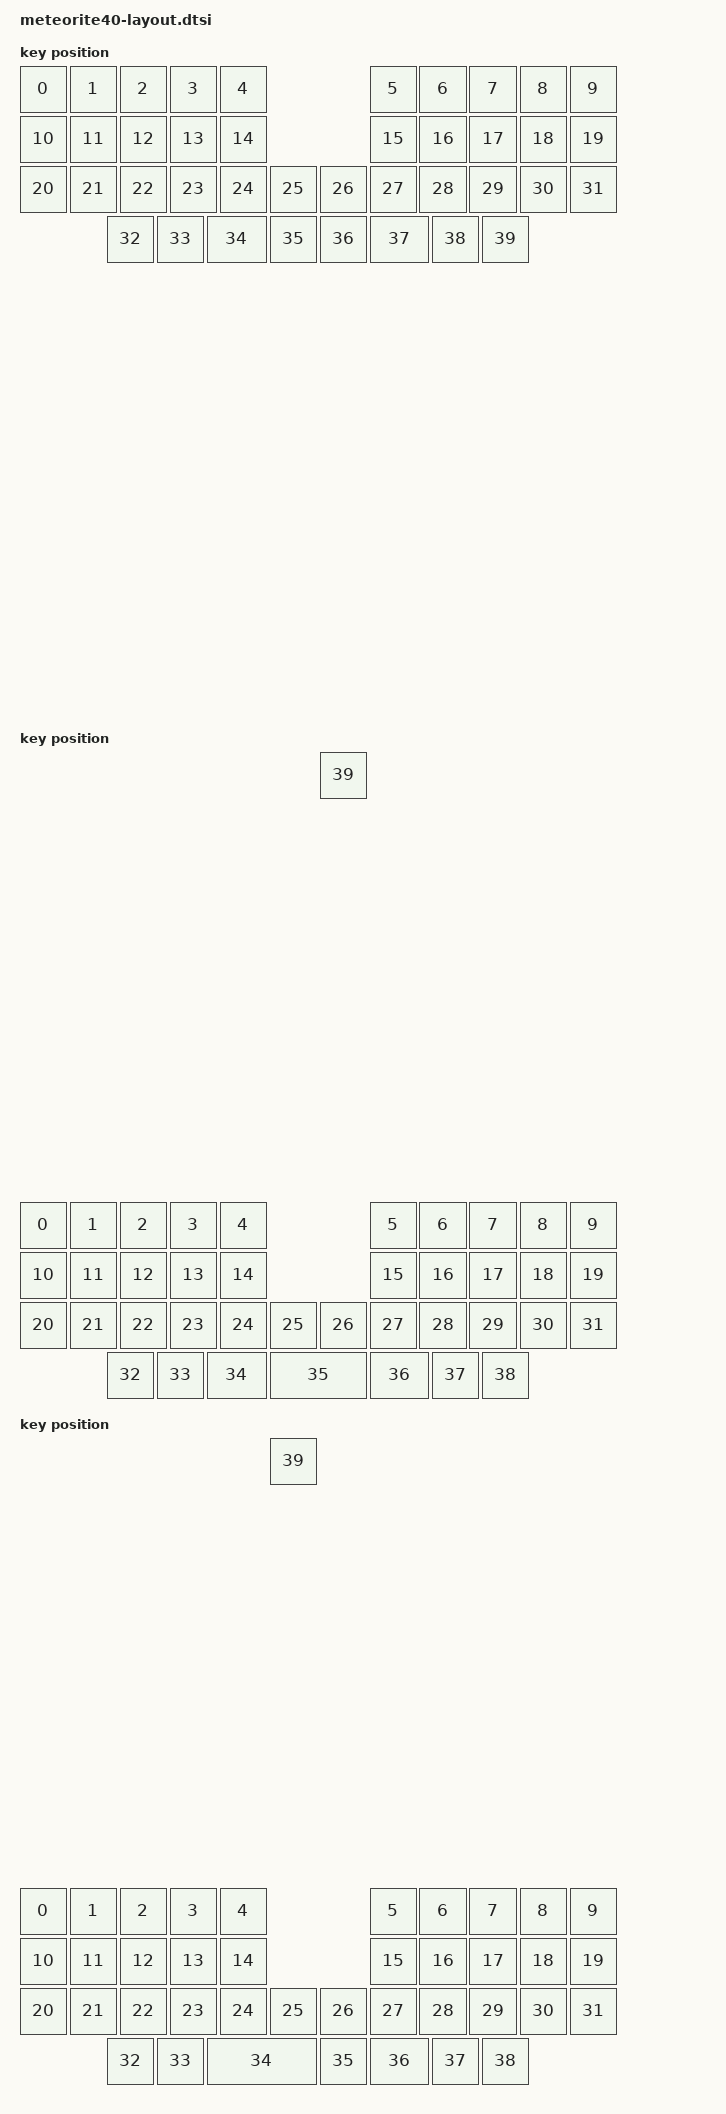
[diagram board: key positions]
#include <physical_layouts.dtsi>

/ {
    LAYOUT_SPLIT_SPACE: layout_split_space {
        compatible = "zmk,physical-layout";
        display-name = "Split Space";

        keys //                  w    h   x     y  rot rx ry 
            = 
            // 1段目 左5
            <&key_physical_attrs 100 100    0    0  0  0  0>,
            <&key_physical_attrs 100 100  100    0  0  0  0>,
            <&key_physical_attrs 100 100  200    0  0  0  0>,
            <&key_physical_attrs 100 100  300    0  0  0  0>,
            <&key_physical_attrs 100 100  400    0  0  0  0>,
            // 1段目 右5
            <&key_physical_attrs 100 100  700    0  0  0  0>,
            <&key_physical_attrs 100 100  800    0  0  0  0>,
            <&key_physical_attrs 100 100  900    0  0  0  0>,
            <&key_physical_attrs 100 100 1000    0  0  0  0>,
            <&key_physical_attrs 100 100 1100    0  0  0  0>,

            // 2段目 左5
            <&key_physical_attrs 100 100    0  100  0  0  0>,
            <&key_physical_attrs 100 100  100  100  0  0  0>,
            <&key_physical_attrs 100 100  200  100  0  0  0>,
            <&key_physical_attrs 100 100  300  100  0  0  0>,
            <&key_physical_attrs 100 100  400  100  0  0  0>,
            // 2段目 右5
            <&key_physical_attrs 100 100  700  100  0  0  0>,
            <&key_physical_attrs 100 100  800  100  0  0  0>,
            <&key_physical_attrs 100 100  900  100  0  0  0>,
            <&key_physical_attrs 100 100 1000  100  0  0  0>,
            <&key_physical_attrs 100 100 1100  100  0  0  0>,

            // 3段目 中央12
            <&key_physical_attrs 100 100    0  200  0  0  0>,
            <&key_physical_attrs 100 100  100  200  0  0  0>,
            <&key_physical_attrs 100 100  200  200  0  0  0>,
            <&key_physical_attrs 100 100  300  200  0  0  0>,
            <&key_physical_attrs 100 100  400  200  0  0  0>,
            <&key_physical_attrs 100 100  500  200  0  0  0>,
            <&key_physical_attrs 100 100  600  200  0  0  0>,
            <&key_physical_attrs 100 100  700  200  0  0  0>,
            <&key_physical_attrs 100 100  800  200  0  0  0>,
            <&key_physical_attrs 100 100  900  200  0  0  0>,
            <&key_physical_attrs 100 100 1000  200  0  0  0>,
            <&key_physical_attrs 100 100 1100  200  0  0  0>,

            // 4段目
            <&key_physical_attrs 100 100  175  300  0  0  0>,
            <&key_physical_attrs 100 100  275  300  0  0  0>,
            <&key_physical_attrs 125 100  375  300  0  0  0>,
            <&key_physical_attrs 100 100  500  300  0  0  0>,
            <&key_physical_attrs 100 100  600  300  0  0  0>,
            <&key_physical_attrs 125 100  700  300  0  0  0>,
            <&key_physical_attrs 100 100  825  300  0  0  0>,
            <&key_physical_attrs 100 100  925  300  0  0  0>
        ;
    };

    LAYOUT_2U_SPACE: layout_2u_space {
        compatible = "zmk,physical-layout";
        display-name = "2U Space";

        keys //                  w    h   x     y  rot rx ry 
            = 
            // 1段目 左5
            <&key_physical_attrs 100 100    0    0  0  0  0>,
            <&key_physical_attrs 100 100  100    0  0  0  0>,
            <&key_physical_attrs 100 100  200    0  0  0  0>,
            <&key_physical_attrs 100 100  300    0  0  0  0>,
            <&key_physical_attrs 100 100  400    0  0  0  0>,
            // 1段目 右5
            <&key_physical_attrs 100 100  700    0  0  0  0>,
            <&key_physical_attrs 100 100  800    0  0  0  0>,
            <&key_physical_attrs 100 100  900    0  0  0  0>,
            <&key_physical_attrs 100 100 1000    0  0  0  0>,
            <&key_physical_attrs 100 100 1100    0  0  0  0>,

            // 2段目 左5
            <&key_physical_attrs 100 100    0  100  0  0  0>,
            <&key_physical_attrs 100 100  100  100  0  0  0>,
            <&key_physical_attrs 100 100  200  100  0  0  0>,
            <&key_physical_attrs 100 100  300  100  0  0  0>,
            <&key_physical_attrs 100 100  400  100  0  0  0>,
            // 2段目 右5
            <&key_physical_attrs 100 100  700  100  0  0  0>,
            <&key_physical_attrs 100 100  800  100  0  0  0>,
            <&key_physical_attrs 100 100  900  100  0  0  0>,
            <&key_physical_attrs 100 100 1000  100  0  0  0>,
            <&key_physical_attrs 100 100 1100  100  0  0  0>,

            // 3段目 中央12
            <&key_physical_attrs 100 100    0  200  0  0  0>,
            <&key_physical_attrs 100 100  100  200  0  0  0>,
            <&key_physical_attrs 100 100  200  200  0  0  0>,
            <&key_physical_attrs 100 100  300  200  0  0  0>,
            <&key_physical_attrs 100 100  400  200  0  0  0>,
            <&key_physical_attrs 100 100  500  200  0  0  0>,
            <&key_physical_attrs 100 100  600  200  0  0  0>,
            <&key_physical_attrs 100 100  700  200  0  0  0>,
            <&key_physical_attrs 100 100  800  200  0  0  0>,
            <&key_physical_attrs 100 100  900  200  0  0  0>,
            <&key_physical_attrs 100 100 1000  200  0  0  0>,
            <&key_physical_attrs 100 100 1100  200  0  0  0>,

            // 4段目
            <&key_physical_attrs 100 100  175  300  0  0  0>,
            <&key_physical_attrs 100 100  275  300  0  0  0>,
            <&key_physical_attrs 125 100  375  300  0  0  0>,
            <&key_physical_attrs 200 100  500  300  0  0  0>,
            //<&key_physical_attrs 100 100  600  300  0  0  0>,
            <&key_physical_attrs 125 100  700  300  0  0  0>,
            <&key_physical_attrs 100 100  825  300  0  0  0>,
            <&key_physical_attrs 100 100  925  300  0  0  0>,

            // Hidden layout slot
            <&key_physical_attrs 100 100  600 (-900)  0  0  0>
        ;
    };

    LAYOUT_225U_SPACE_LEFT: layout_225u_space_left {
        compatible = "zmk,physical-layout";
        display-name = "2.25U Space left";

        keys //                  w    h   x     y  rot rx ry 
            = 
            // 1段目 左5
            <&key_physical_attrs 100 100    0    0  0  0  0>,
            <&key_physical_attrs 100 100  100    0  0  0  0>,
            <&key_physical_attrs 100 100  200    0  0  0  0>,
            <&key_physical_attrs 100 100  300    0  0  0  0>,
            <&key_physical_attrs 100 100  400    0  0  0  0>,
            // 1段目 右5
            <&key_physical_attrs 100 100  700    0  0  0  0>,
            <&key_physical_attrs 100 100  800    0  0  0  0>,
            <&key_physical_attrs 100 100  900    0  0  0  0>,
            <&key_physical_attrs 100 100 1000    0  0  0  0>,
            <&key_physical_attrs 100 100 1100    0  0  0  0>,

            // 2段目 左5
            <&key_physical_attrs 100 100    0  100  0  0  0>,
            <&key_physical_attrs 100 100  100  100  0  0  0>,
            <&key_physical_attrs 100 100  200  100  0  0  0>,
            <&key_physical_attrs 100 100  300  100  0  0  0>,
            <&key_physical_attrs 100 100  400  100  0  0  0>,
            // 2段目 右5
            <&key_physical_attrs 100 100  700  100  0  0  0>,
            <&key_physical_attrs 100 100  800  100  0  0  0>,
            <&key_physical_attrs 100 100  900  100  0  0  0>,
            <&key_physical_attrs 100 100 1000  100  0  0  0>,
            <&key_physical_attrs 100 100 1100  100  0  0  0>,

            // 3段目 中央12
            <&key_physical_attrs 100 100    0  200  0  0  0>,
            <&key_physical_attrs 100 100  100  200  0  0  0>,
            <&key_physical_attrs 100 100  200  200  0  0  0>,
            <&key_physical_attrs 100 100  300  200  0  0  0>,
            <&key_physical_attrs 100 100  400  200  0  0  0>,
            <&key_physical_attrs 100 100  500  200  0  0  0>,
            <&key_physical_attrs 100 100  600  200  0  0  0>,
            <&key_physical_attrs 100 100  700  200  0  0  0>,
            <&key_physical_attrs 100 100  800  200  0  0  0>,
            <&key_physical_attrs 100 100  900  200  0  0  0>,
            <&key_physical_attrs 100 100 1000  200  0  0  0>,
            <&key_physical_attrs 100 100 1100  200  0  0  0>,

            // 4段目
            <&key_physical_attrs 100 100  175  300  0  0  0>,
            <&key_physical_attrs 100 100  275  300  0  0  0>,
            <&key_physical_attrs 225 100  375  300  0  0  0>,
            <&key_physical_attrs 100 100  600  300  0  0  0>,
            //<&key_physical_attrs 100 100  600  300  0  0  0>,
            <&key_physical_attrs 125 100  700  300  0  0  0>,
            <&key_physical_attrs 100 100  825  300  0  0  0>,
            <&key_physical_attrs 100 100  925  300  0  0  0>,

            // Hidden layout slot
            <&key_physical_attrs 100 100  500 (-900)  0  0  0>
        ;
    };

    LAYOUT_225U_SPACE_RIGHT: layout_225u_space_right {
        compatible = "zmk,physical-layout";
        display-name = "2.25U Space right";

        keys //                  w    h   x     y  rot rx ry 
            = 
            // 1段目 左5
            <&key_physical_attrs 100 100    0    0  0  0  0>,
            <&key_physical_attrs 100 100  100    0  0  0  0>,
            <&key_physical_attrs 100 100  200    0  0  0  0>,
            <&key_physical_attrs 100 100  300    0  0  0  0>,
            <&key_physical_attrs 100 100  400    0  0  0  0>,
            // 1段目 右5
            <&key_physical_attrs 100 100  700    0  0  0  0>,
            <&key_physical_attrs 100 100  800    0  0  0  0>,
            <&key_physical_attrs 100 100  900    0  0  0  0>,
            <&key_physical_attrs 100 100 1000    0  0  0  0>,
            <&key_physical_attrs 100 100 1100    0  0  0  0>,

            // 2段目 左5
            <&key_physical_attrs 100 100    0  100  0  0  0>,
            <&key_physical_attrs 100 100  100  100  0  0  0>,
            <&key_physical_attrs 100 100  200  100  0  0  0>,
            <&key_physical_attrs 100 100  300  100  0  0  0>,
            <&key_physical_attrs 100 100  400  100  0  0  0>,
            // 2段目 右5
            <&key_physical_attrs 100 100  700  100  0  0  0>,
            <&key_physical_attrs 100 100  800  100  0  0  0>,
            <&key_physical_attrs 100 100  900  100  0  0  0>,
            <&key_physical_attrs 100 100 1000  100  0  0  0>,
            <&key_physical_attrs 100 100 1100  100  0  0  0>,

            // 3段目 中央12
            <&key_physical_attrs 100 100    0  200  0  0  0>,
            <&key_physical_attrs 100 100  100  200  0  0  0>,
            <&key_physical_attrs 100 100  200  200  0  0  0>,
            <&key_physical_attrs 100 100  300  200  0  0  0>,
            <&key_physical_attrs 100 100  400  200  0  0  0>,
            <&key_physical_attrs 100 100  500  200  0  0  0>,
            <&key_physical_attrs 100 100  600  200  0  0  0>,
            <&key_physical_attrs 100 100  700  200  0  0  0>,
            <&key_physical_attrs 100 100  800  200  0  0  0>,
            <&key_physical_attrs 100 100  900  200  0  0  0>,
            <&key_physical_attrs 100 100 1000  200  0  0  0>,
            <&key_physical_attrs 100 100 1100  200  0  0  0>,

            // 4段目
            <&key_physical_attrs 100 100  175  300  0  0  0>,
            <&key_physical_attrs 100 100  275  300  0  0  0>,
            <&key_physical_attrs 125 100  375  300  0  0  0>,
            <&key_physical_attrs 100 100  500  300  0  0  0>,
            //<&key_physical_attrs 100 100  600  300  0  0  0>,
            <&key_physical_attrs 225 100  600  300  0  0  0>,
            <&key_physical_attrs 100 100  825  300  0  0  0>,
            <&key_physical_attrs 100 100  925  300  0  0  0>,

            // Hidden layout slot
            <&key_physical_attrs 100 100  600 (-900)  0  0  0>
        ;
    };

    LAYOUT_225U_SPACE_DOUBLE: layout_225u_space_double {
        compatible = "zmk,physical-layout";
        display-name = "2.25U / 2.25U split Space";

        keys //                  w    h   x     y  rot rx ry 
            = 
            // 1段目 左5
            <&key_physical_attrs 100 100    0    0  0  0  0>,
            <&key_physical_attrs 100 100  100    0  0  0  0>,
            <&key_physical_attrs 100 100  200    0  0  0  0>,
            <&key_physical_attrs 100 100  300    0  0  0  0>,
            <&key_physical_attrs 100 100  400    0  0  0  0>,
            // 1段目 右5
            <&key_physical_attrs 100 100  700    0  0  0  0>,
            <&key_physical_attrs 100 100  800    0  0  0  0>,
            <&key_physical_attrs 100 100  900    0  0  0  0>,
            <&key_physical_attrs 100 100 1000    0  0  0  0>,
            <&key_physical_attrs 100 100 1100    0  0  0  0>,

            // 2段目 左5
            <&key_physical_attrs 100 100    0  100  0  0  0>,
            <&key_physical_attrs 100 100  100  100  0  0  0>,
            <&key_physical_attrs 100 100  200  100  0  0  0>,
            <&key_physical_attrs 100 100  300  100  0  0  0>,
            <&key_physical_attrs 100 100  400  100  0  0  0>,
            // 2段目 右5
            <&key_physical_attrs 100 100  700  100  0  0  0>,
            <&key_physical_attrs 100 100  800  100  0  0  0>,
            <&key_physical_attrs 100 100  900  100  0  0  0>,
            <&key_physical_attrs 100 100 1000  100  0  0  0>,
            <&key_physical_attrs 100 100 1100  100  0  0  0>,

            // 3段目 中央12
            <&key_physical_attrs 100 100    0  200  0  0  0>,
            <&key_physical_attrs 100 100  100  200  0  0  0>,
            <&key_physical_attrs 100 100  200  200  0  0  0>,
            <&key_physical_attrs 100 100  300  200  0  0  0>,
            <&key_physical_attrs 100 100  400  200  0  0  0>,
            <&key_physical_attrs 100 100  500  200  0  0  0>,
            <&key_physical_attrs 100 100  600  200  0  0  0>,
            <&key_physical_attrs 100 100  700  200  0  0  0>,
            <&key_physical_attrs 100 100  800  200  0  0  0>,
            <&key_physical_attrs 100 100  900  200  0  0  0>,
            <&key_physical_attrs 100 100 1000  200  0  0  0>,
            <&key_physical_attrs 100 100 1100  200  0  0  0>,

            // 4段目
            <&key_physical_attrs 100 100  175  300  0  0  0>,
            <&key_physical_attrs 100 100  275  300  0  0  0>,
            <&key_physical_attrs 225 100  375  300  0  0  0>,
            //<&key_physical_attrs 100 100  500  300  0  0  0>,
            //<&key_physical_attrs 100 100  600  300  0  0  0>,
            <&key_physical_attrs 225 100  600  300  0  0  0>,
            <&key_physical_attrs 100 100  825  300  0  0  0>,
            <&key_physical_attrs 100 100  925  300  0  0  0>,

            // Hidden layout slots
            <&key_physical_attrs 100 100  500 (-900)  0  0  0>,
            <&key_physical_attrs 100 100  600 (-900)  0  0  0>
        ;
    };

    position_map {
        compatible = "zmk,physical-layout-position-map";

        split_space_map {
            physical-layout = < &LAYOUT_SPLIT_SPACE >;
            positions = < 32 33 34 35 36 37 38 39 >;
        };

        2u_space_map {
            physical-layout = < &LAYOUT_2U_SPACE >;
            positions = < 32 33 34 35 39 36 37 38 >;
        };

        225u_space_left_map {
            physical-layout = < &LAYOUT_225U_SPACE_LEFT >;
            positions = < 32 33 34 39 35 36 37 38 >;
        };

        225u_space_right_map {
            physical-layout = < &LAYOUT_225U_SPACE_RIGHT >;
            positions = < 32 33 34 35 36 39 37 38 >;
        };

        225u_space_double_map {
            physical-layout = < &LAYOUT_225U_SPACE_DOUBLE >;
            positions = < 32 33 34 39 35 38 36 37 >;
        };
    };
};
